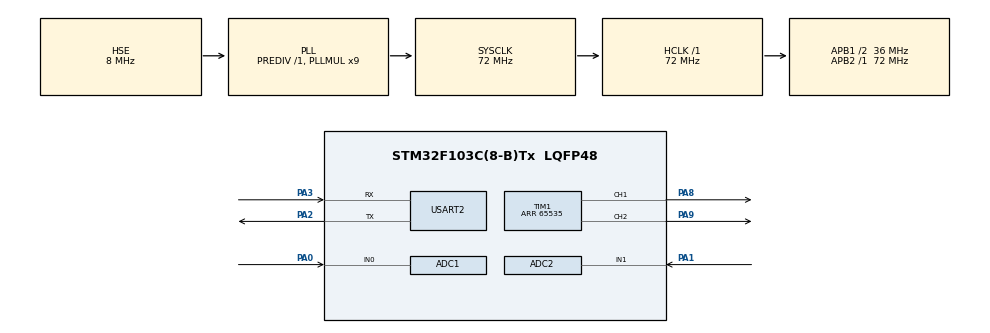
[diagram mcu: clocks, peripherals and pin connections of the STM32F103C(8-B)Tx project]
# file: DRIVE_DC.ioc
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ADC1.Channel-16\#ChannelRegularConversion=ADC_CHANNEL_0
ADC1.NbrOfConversionFlag=1
ADC1.Rank-16\#ChannelRegularConversion=1
ADC1.SamplingTime-16\#ChannelRegularConversion=ADC_SAMPLETIME_239CYCLES_5
ADC1.master=1
ADC2.Channel-15\#ChannelRegularConversion=ADC_CHANNEL_1
ADC2.NbrOfConversionFlag=1
ADC2.Rank-15\#ChannelRegularConversion=1
ADC2.SamplingTime-15\#ChannelRegularConversion=ADC_SAMPLETIME_239CYCLES_5
FREERTOS.Tasks01=DRIVE_3,0,128,StartDefaultTask,Default,NULL,Dynamic,NULL,NULL;DRIVE_1,0,128,StartTask02,Default,NULL,Dynamic,NULL,NULL;DRIVE_2,0,128,StartTask03,Default,NULL,Dynamic,NULL,NULL
Mcu.Family=STM32F1
Mcu.Name=STM32F103C(8-B)Tx
Mcu.Package=LQFP48
NVIC.PriorityGroup=NVIC_PRIORITYGROUP_4
NVIC.TIM2_IRQn=true\:0\:0\:false\:false\:true\:false\:false
NVIC.TimeBase=TIM2_IRQn
NVIC.TimeBaseIP=TIM2
PA0-WKUP.Signal=ADCx_IN0
PA1.Signal=ADCx_IN1
PA13.Mode=Serial_Wire
PA13.Signal=SYS_JTMS-SWDIO
PA14.Mode=Serial_Wire
PA14.Signal=SYS_JTCK-SWCLK
PA2.Mode=Asynchronous
PA2.Signal=USART2_TX
PA3.Mode=Asynchronous
PA3.Signal=USART2_RX
PA8.Signal=S_TIM1_CH1
PA9.Signal=S_TIM1_CH2
PD0-OSC_IN.Mode=HSE-External-Oscillator
PD0-OSC_IN.Signal=RCC_OSC_IN
PD1-OSC_OUT.Mode=HSE-External-Oscillator
PD1-OSC_OUT.Signal=RCC_OSC_OUT
ProjectManager.HeapSize=0x200
ProjectManager.StackSize=0x400
ProjectManager.TargetToolchain=MDK-ARM V5
RCC.ADCPresc=RCC_ADCPCLK2_DIV6
RCC.AHBFreq_Value=72000000
RCC.APB1CLKDivider=RCC_HCLK_DIV2
RCC.APB1Freq_Value=36000000
RCC.APB1TimFreq_Value=72000000
RCC.APB2Freq_Value=72000000
RCC.APB2TimFreq_Value=72000000
RCC.HCLKFreq_Value=72000000
RCC.PLLMUL=RCC_PLL_MUL9
RCC.PLLSourceVirtual=RCC_PLLSOURCE_HSE
RCC.SYSCLKFreq_VALUE=72000000
RCC.SYSCLKSource=RCC_SYSCLKSOURCE_PLLCLK
RCC.USBFreq_Value=72000000
SH.ADCx_IN0.0=ADC1_IN0,IN0
SH.ADCx_IN1.0=ADC2_IN1,IN1
SH.S_TIM1_CH1.0=TIM1_CH1,PWM Generation1 CH1
SH.S_TIM1_CH2.0=TIM1_CH2,PWM Generation2 CH2
TIM1.Channel-PWM\ Generation1\ CH1=TIM_CHANNEL_1
TIM1.Channel-PWM\ Generation2\ CH2=TIM_CHANNEL_2
TIM1.Period=65535
USART2.VirtualMode=VM_ASYNC
VP_FREERTOS_VS_ENABLE.Mode=Enabled
VP_SYS_VS_tim2.Mode=TIM2
VP_TIM1_VS_ClockSourceINT.Mode=Internal
board=DRIVE_DC

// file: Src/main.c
/**
  ******************************************************************************
  * @file           : main.c
  * @brief          : Main program body
  ******************************************************************************
  * This notice applies to any and all portions of this file
  * that are not between comment pairs USER CODE BEGIN and
  * USER CODE END. Other portions of this file, whether
  * inserted by the user or by software development tools
  * are owned by their respective copyright owners.
  *
  * Copyright (c) 2018 STMicroelectronics International N.V.
  * All rights reserved.
  *
  * Redistribution and use in source and binary forms, with or without
  * modification, are permitted, provided that the following conditions are met:
  *
  * 1. Redistribution of source code must retain the above copyright notice,
  *    this list of conditions and the following disclaimer.
  * 2. Redistributions in binary form must reproduce the above copyright notice,
  *    this list of conditions and the following disclaimer in the documentation
  *    and/or other materials provided with the distribution.
  * 3. Neither the name of STMicroelectronics nor the names of other
  *    contributors to this software may be used to endorse or promote products
  *    derived from this software without specific written permission.
  * 4. This software, including modifications and/or derivative works of this
  *    software, must execute solely and exclusively on microcontroller or
  *    microprocessor devices manufactured by or for STMicroelectronics.
  * 5. Redistribution and use of this software other than as permitted under
  *    this license is void and will automatically terminate your rights under
  *    this license.
  *
  * THIS SOFTWARE IS PROVIDED BY STMICROELECTRONICS AND CONTRIBUTORS "AS IS"
  * AND ANY EXPRESS, IMPLIED OR STATUTORY WARRANTIES, INCLUDING, BUT NOT
  * LIMITED TO, THE IMPLIED WARRANTIES OF MERCHANTABILITY, FITNESS FOR A
  * PARTICULAR PURPOSE AND NON-INFRINGEMENT OF THIRD PARTY INTELLECTUAL PROPERTY
  * RIGHTS ARE DISCLAIMED TO THE FULLEST EXTENT PERMITTED BY LAW. IN NO EVENT
  * SHALL STMICROELECTRONICS OR CONTRIBUTORS BE LIABLE FOR ANY DIRECT, INDIRECT,
  * INCIDENTAL, SPECIAL, EXEMPLARY, OR CONSEQUENTIAL DAMAGES (INCLUDING, BUT NOT
  * LIMITED TO, PROCUREMENT OF SUBSTITUTE GOODS OR SERVICES; LOSS OF USE, DATA,
  * OR PROFITS; OR BUSINESS INTERRUPTION) HOWEVER CAUSED AND ON ANY THEORY OF
  * LIABILITY, WHETHER IN CONTRACT, STRICT LIABILITY, OR TORT (INCLUDING
  * NEGLIGENCE OR OTHERWISE) ARISING IN ANY WAY OUT OF THE USE OF THIS SOFTWARE,
  * EVEN IF ADVISED OF THE POSSIBILITY OF SUCH DAMAGE.
  *
  ******************************************************************************
  */
#include "main.h"
#include "stm32f1xx_hal.h"
#include "cmsis_os.h"
uint32_t adc1,adc2;
char send1[20],send2[20];

ADC_HandleTypeDef hadc1;
ADC_HandleTypeDef hadc2;

TIM_HandleTypeDef htim1;

UART_HandleTypeDef huart2;

osThreadId DRIVE_3Handle;
osThreadId DRIVE_1Handle;
osThreadId DRIVE_2Handle;

/* USER CODE BEGIN PV */
/* Private variables ---------------------------------------------------------*/

/* USER CODE END PV */

void SystemClock_Config(void);
static void MX_GPIO_Init(void);
static void MX_TIM1_Init(void);
static void MX_USART2_UART_Init(void);
static void MX_ADC1_Init(void);
static void MX_ADC2_Init(void);
void StartDefaultTask(void const * argument);
void StartTask02(void const * argument);
void StartTask03(void const * argument);

void HAL_TIM_MspPostInit(TIM_HandleTypeDef *htim);

/* USER CODE BEGIN PFP */
/* Private function prototypes -----------------------------------------------*/

/* USER CODE END PFP */

int main(void)
{

  /* MCU Configuration----------------------------------------------------------*/

  /* Reset of all peripherals, Initializes the Flash interface and the Systick. */
  HAL_Init();

  /* Configure the system clock */
  SystemClock_Config();

  /* Initialize all configured peripherals */
  MX_GPIO_Init();
  MX_TIM1_Init();
  MX_USART2_UART_Init();
  MX_ADC1_Init();
  MX_ADC2_Init();

  /* Create the thread(s) */
  /* definition and creation of DRIVE_3 */
  osThreadDef(DRIVE_3, StartDefaultTask, osPriorityNormal, 0, 128);
  DRIVE_3Handle = osThreadCreate(osThread(DRIVE_3), NULL);

  /* definition and creation of DRIVE_1 */
  osThreadDef(DRIVE_1, StartTask02, osPriorityNormal, 0, 128);
  DRIVE_1Handle = osThreadCreate(osThread(DRIVE_1), NULL);

  /* definition and creation of DRIVE_2 */
  osThreadDef(DRIVE_2, StartTask03, osPriorityNormal, 0, 128);
  DRIVE_2Handle = osThreadCreate(osThread(DRIVE_2), NULL);

  /* Start scheduler */
  osKernelStart();

  /* We should never get here as control is now taken by the scheduler */

  /* Infinite loop */
  while (1)
  {

  }

}

void SystemClock_Config(void)
{

  RCC_OscInitTypeDef RCC_OscInitStruct;
  RCC_ClkInitTypeDef RCC_ClkInitStruct;
  RCC_PeriphCLKInitTypeDef PeriphClkInit;

    /**Initializes the CPU, AHB and APB busses clocks
    */
  RCC_OscInitStruct.OscillatorType = RCC_OSCILLATORTYPE_HSE;
  RCC_OscInitStruct.HSEState = RCC_HSE_ON;
  RCC_OscInitStruct.HSEPredivValue = RCC_HSE_PREDIV_DIV1;
  RCC_OscInitStruct.HSIState = RCC_HSI_ON;
  RCC_OscInitStruct.PLL.PLLState = RCC_PLL_ON;
  RCC_OscInitStruct.PLL.PLLSource = RCC_PLLSOURCE_HSE;
  RCC_OscInitStruct.PLL.PLLMUL = RCC_PLL_MUL9;
  if (HAL_RCC_OscConfig(&RCC_OscInitStruct) != HAL_OK)
  {
    _Error_Handler(__FILE__, __LINE__);
  }

    /**Initializes the CPU, AHB and APB busses clocks
    */
  RCC_ClkInitStruct.ClockType = RCC_CLOCKTYPE_HCLK|RCC_CLOCKTYPE_SYSCLK
                              |RCC_CLOCKTYPE_PCLK1|RCC_CLOCKTYPE_PCLK2;
  RCC_ClkInitStruct.SYSCLKSource = RCC_SYSCLKSOURCE_PLLCLK;
  RCC_ClkInitStruct.AHBCLKDivider = RCC_SYSCLK_DIV1;
  RCC_ClkInitStruct.APB1CLKDivider = RCC_HCLK_DIV2;
  RCC_ClkInitStruct.APB2CLKDivider = RCC_HCLK_DIV1;

  if (HAL_RCC_ClockConfig(&RCC_ClkInitStruct, FLASH_LATENCY_2) != HAL_OK)
  {
    _Error_Handler(__FILE__, __LINE__);
  }

  PeriphClkInit.PeriphClockSelection = RCC_PERIPHCLK_ADC;
  PeriphClkInit.AdcClockSelection = RCC_ADCPCLK2_DIV6;
  if (HAL_RCCEx_PeriphCLKConfig(&PeriphClkInit) != HAL_OK)
  {
    _Error_Handler(__FILE__, __LINE__);
  }

    /**Configure the Systick interrupt time
    */
  HAL_SYSTICK_Config(HAL_RCC_GetHCLKFreq()/1000);

    /**Configure the Systick
    */
  HAL_SYSTICK_CLKSourceConfig(SYSTICK_CLKSOURCE_HCLK);

  /* SysTick_IRQn interrupt configuration */
  HAL_NVIC_SetPriority(SysTick_IRQn, 15, 0);
}

/* ADC1 init function */
static void MX_ADC1_Init(void)
{

  ADC_ChannelConfTypeDef sConfig;

    /**Common config
    */
  hadc1.Instance = ADC1;
  hadc1.Init.ScanConvMode = ADC_SCAN_DISABLE;
  hadc1.Init.ContinuousConvMode = DISABLE;
  hadc1.Init.DiscontinuousConvMode = DISABLE;
  hadc1.Init.ExternalTrigConv = ADC_SOFTWARE_START;
  hadc1.Init.DataAlign = ADC_DATAALIGN_RIGHT;
  hadc1.Init.NbrOfConversion = 1;
  if (HAL_ADC_Init(&hadc1) != HAL_OK)
  {
    _Error_Handler(__FILE__, __LINE__);
  }

    /**Configure Regular Channel
    */
  sConfig.Channel = ADC_CHANNEL_0;
  sConfig.Rank = ADC_REGULAR_RANK_1;
  sConfig.SamplingTime = ADC_SAMPLETIME_239CYCLES_5;
  if (HAL_ADC_ConfigChannel(&hadc1, &sConfig) != HAL_OK)
  {
    _Error_Handler(__FILE__, __LINE__);
  }

}

/* ADC2 init function */
static void MX_ADC2_Init(void)
{

  ADC_ChannelConfTypeDef sConfig;

    /**Common config
    */
  hadc2.Instance = ADC2;
  hadc2.Init.ScanConvMode = ADC_SCAN_DISABLE;
  hadc2.Init.ContinuousConvMode = DISABLE;
  hadc2.Init.DiscontinuousConvMode = DISABLE;
  hadc2.Init.ExternalTrigConv = ADC_SOFTWARE_START;
  hadc2.Init.DataAlign = ADC_DATAALIGN_RIGHT;
  hadc2.Init.NbrOfConversion = 1;
  if (HAL_ADC_Init(&hadc2) != HAL_OK)
  {
    _Error_Handler(__FILE__, __LINE__);
  }

    /**Configure Regular Channel
    */
  sConfig.Channel = ADC_CHANNEL_1;
  sConfig.Rank = ADC_REGULAR_RANK_1;
  sConfig.SamplingTime = ADC_SAMPLETIME_239CYCLES_5;
  if (HAL_ADC_ConfigChannel(&hadc2, &sConfig) != HAL_OK)
  {
    _Error_Handler(__FILE__, __LINE__);
  }

}

/* TIM1 init function */
static void MX_TIM1_Init(void)
{

  TIM_ClockConfigTypeDef sClockSourceConfig;
  TIM_MasterConfigTypeDef sMasterConfig;
  TIM_OC_InitTypeDef sConfigOC;
  TIM_BreakDeadTimeConfigTypeDef sBreakDeadTimeConfig;

  htim1.Instance = TIM1;
  htim1.Init.Prescaler = 0;
  htim1.Init.CounterMode = TIM_COUNTERMODE_UP;
  htim1.Init.Period = 65535;
  htim1.Init.ClockDivision = TIM_CLOCKDIVISION_DIV1;
  htim1.Init.RepetitionCounter = 0;
  htim1.Init.AutoReloadPreload = TIM_AUTORELOAD_PRELOAD_DISABLE;
  if (HAL_TIM_Base_Init(&htim1) != HAL_OK)
  {
    _Error_Handler(__FILE__, __LINE__);
  }

  sClockSourceConfig.ClockSource = TIM_CLOCKSOURCE_INTERNAL;
  if (HAL_TIM_ConfigClockSource(&htim1, &sClockSourceConfig) != HAL_OK)
  {
    _Error_Handler(__FILE__, __LINE__);
  }

  if (HAL_TIM_PWM_Init(&htim1) != HAL_OK)
  {
    _Error_Handler(__FILE__, __LINE__);
  }

  sMasterConfig.MasterOutputTrigger = TIM_TRGO_RESET;
  sMasterConfig.MasterSlaveMode = TIM_MASTERSLAVEMODE_DISABLE;
  if (HAL_TIMEx_MasterConfigSynchronization(&htim1, &sMasterConfig) != HAL_OK)
  {
    _Error_Handler(__FILE__, __LINE__);
  }

  sConfigOC.OCMode = TIM_OCMODE_PWM1;
  sConfigOC.Pulse = 0;
  sConfigOC.OCPolarity = TIM_OCPOLARITY_HIGH;
  sConfigOC.OCNPolarity = TIM_OCNPOLARITY_HIGH;
  sConfigOC.OCFastMode = TIM_OCFAST_DISABLE;
  sConfigOC.OCIdleState = TIM_OCIDLESTATE_RESET;
  sConfigOC.OCNIdleState = TIM_OCNIDLESTATE_RESET;
  if (HAL_TIM_PWM_ConfigChannel(&htim1, &sConfigOC, TIM_CHANNEL_1) != HAL_OK)
  {
    _Error_Handler(__FILE__, __LINE__);
  }

  if (HAL_TIM_PWM_ConfigChannel(&htim1, &sConfigOC, TIM_CHANNEL_2) != HAL_OK)
  {
    _Error_Handler(__FILE__, __LINE__);
  }

  sBreakDeadTimeConfig.OffStateRunMode = TIM_OSSR_DISABLE;
  sBreakDeadTimeConfig.OffStateIDLEMode = TIM_OSSI_DISABLE;
  sBreakDeadTimeConfig.LockLevel = TIM_LOCKLEVEL_OFF;
  sBreakDeadTimeConfig.DeadTime = 0;
  sBreakDeadTimeConfig.BreakState = TIM_BREAK_DISABLE;
  sBreakDeadTimeConfig.BreakPolarity = TIM_BREAKPOLARITY_HIGH;
  sBreakDeadTimeConfig.AutomaticOutput = TIM_AUTOMATICOUTPUT_DISABLE;
  if (HAL_TIMEx_ConfigBreakDeadTime(&htim1, &sBreakDeadTimeConfig) != HAL_OK)
  {
    _Error_Handler(__FILE__, __LINE__);
  }

  HAL_TIM_MspPostInit(&htim1);

}

/* USART2 init function */
static void MX_USART2_UART_Init(void)
{

  huart2.Instance = USART2;
  huart2.Init.BaudRate = 115200;
  huart2.Init.WordLength = UART_WORDLENGTH_8B;
  huart2.Init.StopBits = UART_STOPBITS_1;
  huart2.Init.Parity = UART_PARITY_NONE;
  huart2.Init.Mode = UART_MODE_TX_RX;
  huart2.Init.HwFlowCtl = UART_HWCONTROL_NONE;
  huart2.Init.OverSampling = UART_OVERSAMPLING_16;
  if (HAL_UART_Init(&huart2) != HAL_OK)
  {
    _Error_Handler(__FILE__, __LINE__);
  }

}

/** Configure pins as
        * Analog
        * Input
        * Output
        * EVENT_OUT
        * EXTI
*/
static void MX_GPIO_Init(void)
{

  /* GPIO Ports Clock Enable */
  __HAL_RCC_GPIOD_CLK_ENABLE();
  __HAL_RCC_GPIOA_CLK_ENABLE();

}

/* StartDefaultTask function */
void StartDefaultTask(void const * argument)
{

  /* USER CODE BEGIN 5 */
  /* Infinite loop */
	HAL_TIM_PWM_Start(&htim1,TIM_CHANNEL_1);
	TIM1->CCR1 = 65535;
  for(;;)
  { HAL_ADC_Start(&hadc1);
		HAL_ADC_PollForConversion(&hadc1,100);
		adc1 = HAL_ADC_GetValue(&hadc1);
		adc1 = adc1/16;
		TIM1->CCR1 = adc1*260;
		sprintf(send1,"%d ADC1\r\n",adc1);
		HAL_UART_Transmit(&huart2,(uint8_t*)&send1,20,100);
    osDelay(1);
  }
  /* USER CODE END 5 */
}

/* StartTask02 function */
void StartTask02(void const * argument)
{
  /* USER CODE BEGIN StartTask02 */
  /* Infinite loop */
	HAL_TIM_PWM_Start(&htim1,TIM_CHANNEL_2);
	TIM2->CCR2 = 65535;
  for(;;)
  { HAL_ADC_Start(&hadc2);
		HAL_ADC_PollForConversion(&hadc2,100);
		adc2 = HAL_ADC_GetValue(&hadc2);
		adc2 = adc2/16;
		TIM2->CCR2 = adc2*260;
		sprintf(send2,"%d ADC2\r\n",adc2);
		HAL_UART_Transmit(&huart2,(uint8_t*)&send2,20,100);
    osDelay(1);
  }
  /* USER CODE END StartTask02 */
}

/* StartTask03 function */
void StartTask03(void const * argument)
{
  for(;;)
  {
    osDelay(1);
  }
}

void HAL_TIM_PeriodElapsedCallback(TIM_HandleTypeDef *htim)
{
  if (htim->Instance == TIM2) {
    HAL_IncTick();
  }
}

void _Error_Handler(char *file, int line)
{
  while(1)
  {
  }
}

/************************ (C) COPYRIGHT STMicroelectronics *****END OF FILE****/
